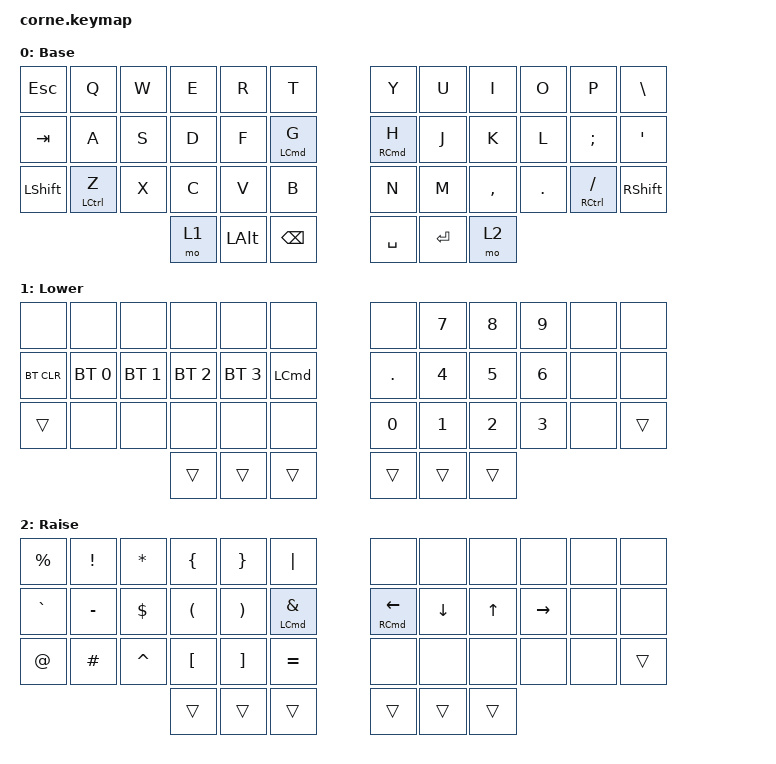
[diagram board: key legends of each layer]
/*
 * Copyright (c) 2020 The ZMK Contributors
 *
 * SPDX-License-Identifier: MIT
 */

#include <behaviors.dtsi>
#include <dt-bindings/zmk/bt.h>
#include <dt-bindings/zmk/keys.h>

/ {
    behaviors {
        mtl: mtl {
            compatible = "zmk,behavior-hold-tap";
            label = "MTL";
            bindings = <&kp>, <&kp>;

            #binding-cells = <2>;
            tapping-term-ms = <220>;
            flavor = "tap-preferred";
        };
    };

    keymap {
        compatible = "zmk,keymap";

        default_layer {
            // -----------------------------------------------------------------------------------------
            // |  TAB |  Q  |  W  |  E  |  R  |  T  |   |  Y  |  U   |  I  |  O  |  P  | BKSP |
            // | CTRL |  A  |  S  |  D  |  F  |  G  |   |  H  |  J   |  K  |  L  |  ;  |  '   |
            // | SHFT |  Z  |  X  |  C  |  V  |  B  |   |  N  |  M   |  ,  |  .  |  /  | ESC  |
            //                    | GUI | LWR | SPC |   | ENT | RSE  | ALT |

            display-name = "Base";
            bindings = <
&kp ESC    &kp Q         &kp W  &kp E  &kp R         &kp T                  &kp Y                 &kp U      &kp I      &kp O    &kp P            &kp BSLH
&kp TAB    &kp A         &kp S  &kp D  &kp F         &mtl LEFT_COMMAND G    &mtl RIGHT_COMMAND H  &kp J      &kp K      &kp L    &kp SEMI         &kp SQT
&kp LSHFT  &mtl LCTRL Z  &kp X  &kp C  &kp V         &kp B                  &kp N                 &kp M      &kp COMMA  &kp DOT  &mtl RCTRL FSLH  &kp RIGHT_SHIFT
                                &mo 1  &kp LEFT_ALT  &kp BACKSPACE          &kp SPACE             &kp ENTER  &mo 2
            >;
        };

        lower_layer {
            // -----------------------------------------------------------------------------------------
            // |  TAB |  1  |  2  |  3  |  4  |  5  |   |  6  |  7  |  8  |  9  |  0  | BKSP |
            // | BTCLR| BT1 | BT2 | BT3 | BT4 | BT5 |   | LFT | DWN |  UP | RGT |     |      |
            // | SHFT |     |     |     |     |     |   |     |     |     |     |     |      |
            //                    | GUI |     | SPC |   | ENT |     | ALT |

            display-name = "Lower";
            bindings = <
&none       &none         &none         &none         &none         &none               &none       &kp N7        &kp N8        &kp N9        &none  &none
&bt BT_CLR  &bt BT_SEL 0  &bt BT_SEL 1  &bt BT_SEL 2  &bt BT_SEL 3  &kp LEFT_COMMAND    &kp PERIOD  &kp NUMBER_4  &kp N5        &kp NUMBER_6  &none  &none
&trans      &none         &none         &none         &none         &none               &kp N0      &kp NUMBER_1  &kp NUMBER_2  &kp NUMBER_3  &none  &trans
                                        &trans        &trans        &trans              &trans      &trans        &trans
            >;
        };

        raise_layer {
            // -----------------------------------------------------------------------------------------
            // |  TAB |  !  |  @  |  #  |  $  |  %  |   |  ^  |  &  |  *  |  (  |  )  | BKSP |
            // | CTRL |     |     |     |     |     |   |  -  |  =  |  [  |  ]  |  \  |  `   |
            // | SHFT |     |     |     |     |     |   |  _  |  +  |  {  |  }  | "|" |  ~   |
            //                    | GUI |     | SPC |   | ENT |     | ALT |

            display-name = "Raise";
            bindings = <
&kp PERCENT  &kp EXCL   &kp ASTERISK  &kp LEFT_BRACE        &kp RIGHT_BRACE        &kp PIPE                       &none                          &none           &none         &none            &none  &none
&kp GRAVE    &kp MINUS  &kp DOLLAR    &kp LEFT_PARENTHESIS  &kp RIGHT_PARENTHESIS  &mtl LEFT_COMMAND AMPERSAND    &mtl RIGHT_COMMAND LEFT_ARROW  &kp DOWN_ARROW  &kp UP_ARROW  &kp RIGHT_ARROW  &none  &none
&kp AT       &kp HASH   &kp CARET     &kp LEFT_BRACKET      &kp RIGHT_BRACKET      &kp EQUAL                      &none                          &none           &none         &none            &none  &trans
                                      &trans                &trans                 &trans                         &trans                         &trans          &trans
            >;
        };

        extra_1 { status = "reserved"; };

        extra_2 { status = "reserved"; };

        extra_3 { status = "reserved"; };
    };
};
